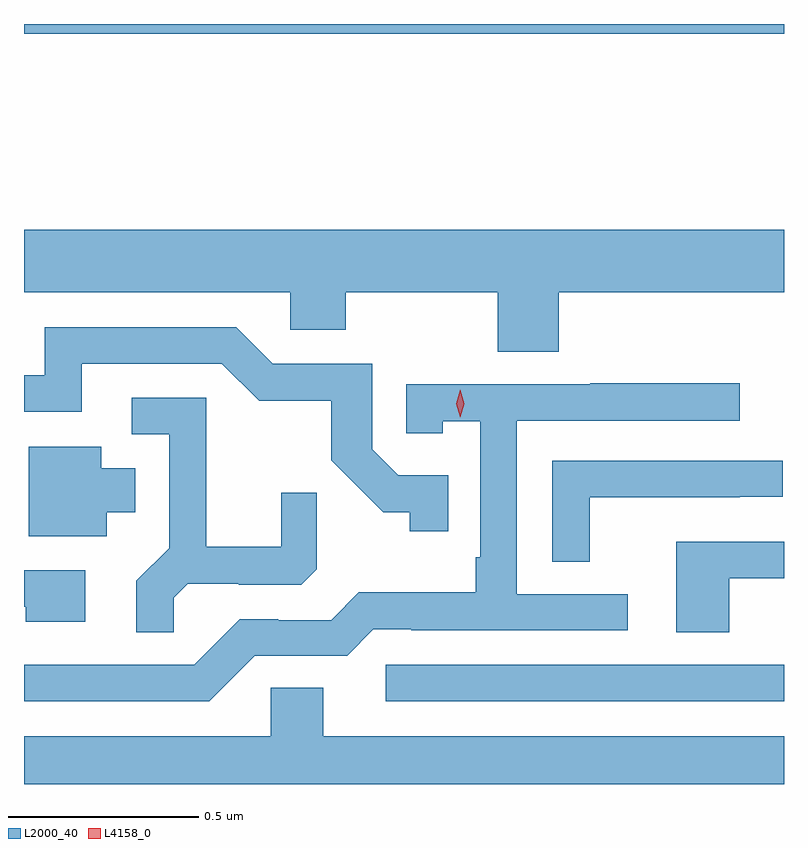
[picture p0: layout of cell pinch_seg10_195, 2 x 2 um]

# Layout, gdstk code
import gdstk
lib = gdstk.Library(unit=1e-6, precision=1e-09)
def R(c, l, rs):  # rectangles x0, y0, x1, y1
    for r in rs: c.add(gdstk.rectangle(r[:2], r[2:], *l))
def P(c, l, *ps):  # polygons
    for p in ps: c.add(gdstk.Polygon(p, *l))
L2000_40 = (2000, 40)
L4158_0 = (4158, 0)

pinch_seg10_195 = lib.new_cell('pinch_seg10_195')
R(pinch_seg10_195, L2000_40, [(750.339,1271.268,751.387,1271.364), (749.387,1273.024,751.387,1273.05)])
P(pinch_seg10_195, L2000_40, [(750.794,1272.344),(751.387,1272.344),(751.387,1272.508),(749.387,1272.508),(749.387,1272.344),(750.087,1272.344),(750.087,1272.246),(750.234,1272.246),(750.234,1272.344),(750.634,1272.344),(750.634,1272.187),(750.794,1272.187)],
  [(750.503,1271.862),(750.372,1271.862),(750.303,1271.931),(750.303,1272.156),(750.042,1272.156),(749.946,1272.252),(749.441,1272.252),(749.441,1272.126),(749.387,1272.126),(749.387,1272.03),(749.539,1272.03),(749.539,1272.156),(749.907,1272.156),(750.006,1272.058),(750.195,1272.058),(750.195,1271.902),(750.332,1271.765),(750.402,1271.765),(750.402,1271.715),(750.503,1271.715)],
  [(749.994,1271.388),(750.237,1271.388),(750.306,1271.457),(750.406,1271.457),(750.406,1271.454),(750.976,1271.454),(750.976,1271.55),(750.684,1271.55),(750.684,1272.006),(751.27,1272.006),(751.27,1272.105),(750.877,1272.105),(750.877,1272.102),(750.393,1272.102),(750.393,1271.973),(750.489,1271.973),(750.489,1272.005),(750.588,1272.005),(750.588,1271.647),(750.576,1271.647),(750.576,1271.554),(750.268,1271.554),(750.195,1271.481),(750.056,1271.481),(750.056,1271.484),(749.955,1271.484),(749.835,1271.364),(749.387,1271.364),(749.387,1271.268),(749.874,1271.268)],
  [(749.781,1271.54),(749.818,1271.577),(749.952,1271.577),(749.952,1271.574),(750.117,1271.574),(750.158,1271.615),(750.158,1271.817),(750.064,1271.817),(750.064,1271.674),(749.867,1271.674),(749.867,1272.066),(749.67,1272.066),(749.67,1271.97),(749.769,1271.97),(749.769,1271.671),(749.683,1271.585),(749.683,1271.449),(749.781,1271.449)],
  [(749.605,1271.765),(749.68,1271.765),(749.68,1271.881),(749.59,1271.881),(749.59,1271.938),(749.399,1271.938),(749.399,1271.702),(749.605,1271.702)],
  [(750.876,1271.805),(751.271,1271.805),(751.271,1271.806),(751.384,1271.806),(751.384,1271.901),(750.777,1271.901),(750.777,1271.635),(750.876,1271.635)],
  [(751.243,1271.592),(751.387,1271.592),(751.387,1271.688),(751.103,1271.688),(751.103,1271.449),(751.243,1271.449)],
  [(749.548,1271.613),(749.387,1271.613),(749.387,1271.517),(749.392,1271.517),(749.392,1271.477),(749.548,1271.477)],
  [(751.387,1271.176),(750.175,1271.176),(750.175,1271.303),(750.036,1271.303),(750.036,1271.176),(749.387,1271.176),(749.387,1271.05),(751.387,1271.05)])
P(pinch_seg10_195, L4158_0, [(750.535,1272.015),(750.535,1272.015),(750.525,1272.051),(750.535,1272.087),(750.535,1272.087),(750.535,1272.087),(750.545,1272.051),(750.535,1272.015)])

lib.write_gds('pinch_seg10_195.gds')
